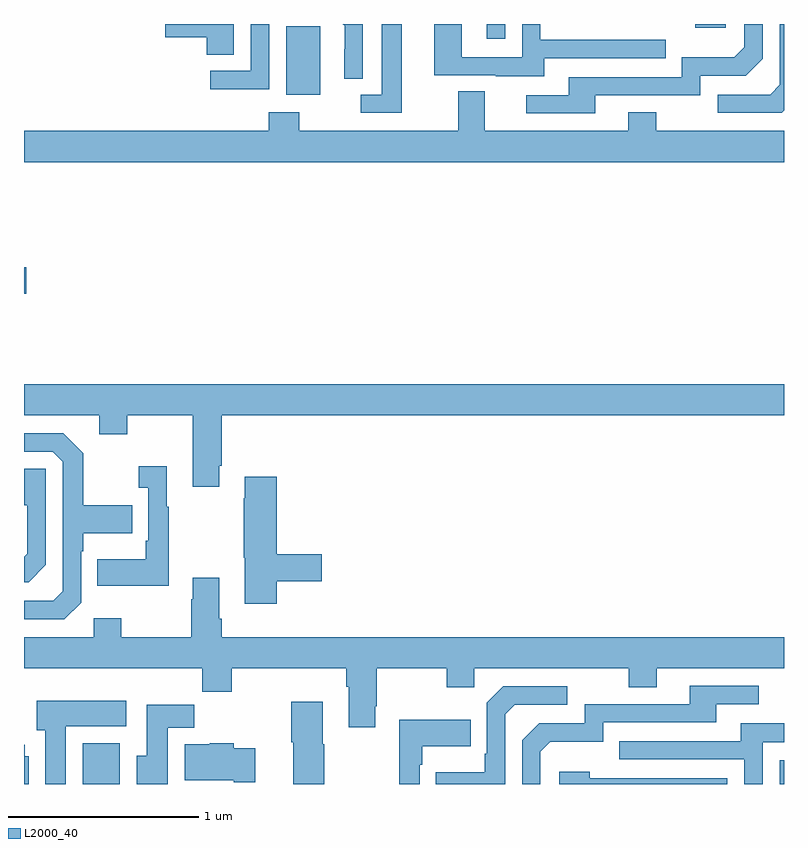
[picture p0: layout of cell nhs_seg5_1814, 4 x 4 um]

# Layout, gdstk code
import gdstk
lib = gdstk.Library(unit=1e-6, precision=1e-09)
def R(c, l, rs):  # rectangles x0, y0, x1, y1
    for r in rs: c.add(gdstk.rectangle(r[:2], r[2:], *l))
def P(c, l, *ps):  # polygons
    for p in ps: c.add(gdstk.Polygon(p, *l))
L2000_40 = (2000, 40)

nhs_seg5_1814 = lib.new_cell('nhs_seg5_1814')
R(nhs_seg5_1814, L2000_40, [(219.308,874.799,219.505,875.014), (222.978,874.799,223,874.924), (219,877.378,219.013,877.52), (220.379,878.426,220.558,878.787), (221.435,878.721,221.532,878.799), (222.533,878.78,222.694,878.799)])
P(nhs_seg5_1814, L2000_40, [(220.987,878.799),(220.883,878.799),(220.883,878.427),(220.773,878.427),(220.773,878.331),(220.987,878.331)],
  [(220.782,878.799),(220.678,878.799),(220.688,878.789),(220.688,878.666),(220.686,878.666),(220.686,878.512),(220.782,878.512)],
  [(220.29,878.799),(220.194,878.799),(220.194,878.553),(219.981,878.553),(219.981,878.455),(220.29,878.455)],
  [(221.737,878.619),(222.377,878.619),(222.377,878.715),(221.718,878.715),(221.718,878.799),(221.622,878.799),(221.622,878.625),(221.304,878.625),(221.304,878.799),(221.159,878.799),(221.159,878.529),(221.483,878.529),(221.483,878.525),(221.737,878.525)],
  [(220.105,878.799),(219.744,878.799),(219.744,878.729),(219.962,878.729),(219.962,878.638),(220.105,878.638)],
  [(223,878.344),(223,878.799),(222.978,878.799),(222.978,878.478),(222.927,878.427),(222.651,878.427),(222.651,878.331),(222.987,878.331)],
  [(222.007,878.424),(222.558,878.424),(222.558,878.526),(222.798,878.526),(222.888,878.616),(222.888,878.799),(222.792,878.799),(222.792,878.676),(222.739,878.623),(222.462,878.623),(222.462,878.52),(221.867,878.52),(221.867,878.424),(221.643,878.424),(221.643,878.328),(222.007,878.328)],
  [(223,878.236),(222.327,878.236),(222.327,878.335),(222.179,878.335),(222.179,878.236),(221.425,878.236),(221.425,878.444),(221.285,878.444),(221.285,878.236),(220.449,878.236),(220.449,878.335),(220.289,878.335),(220.289,878.236),(219,878.236),(219,878.072),(223,878.072)],
  [(220.027,876.475),(220.04,876.475),(220.04,876.74),(223,876.74),(223,876.904),(219,876.904),(219,876.74),(219.395,876.74),(219.395,876.641),(219.543,876.641),(219.543,876.74),(219.887,876.74),(219.887,876.363),(220.027,876.363)],
  [(219.3,875.754),(219.3,876.023),(219.313,876.023),(219.313,876.119),(219.569,876.119),(219.569,876.267),(219.313,876.267),(219.313,876.539),(219.207,876.645),(219,876.645),(219,876.549),(219.15,876.549),(219.204,876.495),(219.204,875.814),(219.153,875.763),(219,875.763),(219,875.667),(219.213,875.667)],
  [(219.763,876.259),(219.751,876.259),(219.751,876.472),(219.603,876.472),(219.603,876.359),(219.654,876.359),(219.654,876.079),(219.642,876.079),(219.642,875.983),(219.385,875.983),(219.385,875.843),(219.763,875.843)],
  [(219.114,875.952),(219.114,876.459),(219,876.459),(219,876.266),(219.018,876.266),(219.018,876.012),(219,875.994),(219,875.862),(219.024,875.862)],
  [(220.331,875.866),(220.567,875.866),(220.567,876.008),(220.331,876.008),(220.331,876.415),(220.163,876.415),(220.163,876.302),(220.156,876.302),(220.156,875.991),(220.163,875.991),(220.163,875.748),(220.331,875.748)],
  [(220.04,875.668),(220.027,875.668),(220.027,875.884),(219.887,875.884),(219.887,875.771),(219.88,875.771),(219.88,875.572),(219.513,875.572),(219.513,875.671),(219.366,875.671),(219.366,875.572),(219,875.572),(219,875.408),(219.937,875.408),(219.937,875.284),(220.094,875.284),(220.094,875.408),(220.697,875.408),(220.697,875.312),(220.709,875.312),(220.709,875.097),(220.849,875.097),(220.849,875.209),(220.857,875.209),(220.857,875.408),(221.224,875.408),(221.224,875.309),(221.37,875.309),(221.37,875.408),(222.184,875.408),(222.184,875.309),(222.331,875.309),(222.331,875.408),(223,875.408),(223,875.572),(220.04,875.572)],
  [(221.718,874.968),(221.771,875.021),(222.048,875.021),(222.048,875.124),(222.643,875.124),(222.643,875.22),(222.868,875.22),(222.868,875.316),(222.503,875.316),(222.503,875.22),(221.952,875.22),(221.952,875.118),(221.712,875.118),(221.622,875.028),(221.622,874.799),(221.718,874.799)],
  [(221.532,875.166),(221.583,875.217),(221.86,875.217),(221.86,875.313),(221.523,875.313),(221.436,875.226),(221.436,874.957),(221.424,874.957),(221.424,874.861),(221.167,874.861),(221.167,874.799),(221.532,874.799)],
  [(219.22,875.102),(219.538,875.102),(219.538,875.236),(219.068,875.236),(219.068,875.082),(219.113,875.082),(219.113,874.799),(219.22,874.799)],
  [(220.581,875.009),(220.573,875.009),(220.573,875.233),(220.406,875.233),(220.406,875.02),(220.418,875.02),(220.418,874.799),(220.581,874.799)],
  [(219.757,875.096),(219.896,875.096),(219.896,875.215),(219.647,875.215),(219.647,874.948),(219.593,874.948),(219.593,874.799),(219.757,874.799)],
  [(221.082,874.901),(221.095,874.901),(221.095,874.997),(221.351,874.997),(221.351,875.137),(220.974,875.137),(220.974,874.799),(221.082,874.799)],
  [(222.888,875.019),(223,875.019),(223,875.119),(222.773,875.119),(222.773,875.025),(222.133,875.025),(222.133,874.929),(222.792,874.929),(222.792,874.799),(222.888,874.799)],
  [(220.216,874.986),(220.104,874.986),(220.104,875.014),(219.978,875.014),(219.978,875.008),(219.845,875.008),(219.845,874.82),(220.103,874.82),(220.103,874.808),(220.216,874.808)],
  [(219.025,874.944),(219.004,874.944),(219.004,875.005),(219,875.005),(219,874.799),(219.025,874.799)],
  [(222.702,874.83),(221.978,874.83),(221.978,874.864),(221.817,874.864),(221.817,874.799),(222.702,874.799)])

lib.write_gds('nhs_seg5_1814.gds')
